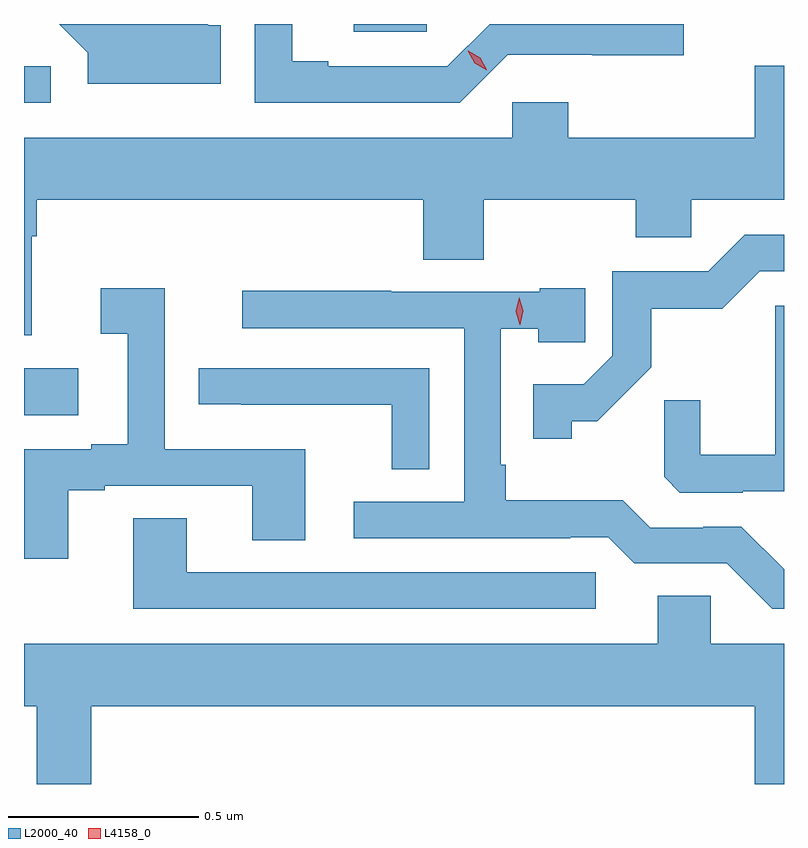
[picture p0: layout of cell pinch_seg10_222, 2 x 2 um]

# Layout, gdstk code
import gdstk
lib = gdstk.Library(unit=1e-6, precision=1e-09)
def R(c, l, rs):  # rectangles x0, y0, x1, y1
    for r in rs: c.add(gdstk.rectangle(r[:2], r[2:], *l))
def P(c, l, *ps):  # polygons
    for p in ps: c.add(gdstk.Polygon(p, *l))
L2000_40 = (2000, 40)
L4158_0 = (4158, 0)

pinch_seg10_222 = lib.new_cell('pinch_seg10_222')
R(pinch_seg10_222, L2000_40, [(630.617,1298.417,630.76,1298.541), (630.617,1299.24,630.688,1299.336), (631.485,1299.426,631.677,1299.447)])
P(pinch_seg10_222, L2000_40, [(631.135,1299.444),(631.104,1299.444),(631.101,1299.447),(630.71,1299.447),(630.785,1299.372),(630.785,1299.29),(631.135,1299.29)],
  [(631.89,1299.366),(632.112,1299.366),(632.112,1299.365),(632.353,1299.365),(632.353,1299.447),(631.842,1299.447),(631.731,1299.336),(631.417,1299.336),(631.417,1299.349),(631.323,1299.349),(631.323,1299.447),(631.224,1299.447),(631.224,1299.24),(631.764,1299.24)],
  [(630.637,1298.888),(630.65,1298.888),(630.65,1298.984),(631.667,1298.984),(631.667,1298.827),(631.827,1298.827),(631.827,1298.984),(632.227,1298.984),(632.227,1298.886),(632.373,1298.886),(632.373,1298.984),(632.617,1298.984),(632.617,1299.337),(632.54,1299.337),(632.54,1299.148),(632.049,1299.148),(632.049,1299.241),(631.902,1299.241),(631.902,1299.148),(630.617,1299.148),(630.617,1298.628),(630.637,1298.628)],
  [(632.058,1298.402),(632.126,1298.402),(632.268,1298.544),(632.268,1298.698),(632.455,1298.698),(632.553,1298.796),(632.617,1298.796),(632.617,1298.892),(632.514,1298.892),(632.418,1298.796),(632.165,1298.796),(632.165,1298.574),(632.09,1298.499),(631.957,1298.499),(631.957,1298.355),(632.058,1298.355)],
  [(630.733,1298.22),(630.829,1298.22),(630.829,1298.232),(631.217,1298.232),(631.217,1298.089),(631.357,1298.089),(631.357,1298.328),(630.987,1298.328),(630.987,1298.752),(630.819,1298.752),(630.819,1298.632),(630.89,1298.632),(630.89,1298.341),(630.794,1298.341),(630.794,1298.328),(630.617,1298.328),(630.617,1298.04),(630.733,1298.04)],
  [(632.617,1298.012),(632.505,1298.124),(632.404,1298.124),(632.404,1298.121),(632.265,1298.121),(632.192,1298.194),(631.885,1298.194),(631.885,1298.287),(631.872,1298.287),(631.872,1298.645),(631.97,1298.645),(631.97,1298.609),(632.094,1298.609),(632.094,1298.752),(631.974,1298.752),(631.974,1298.742),(631.583,1298.742),(631.583,1298.745),(631.191,1298.745),(631.191,1298.646),(631.776,1298.646),(631.776,1298.19),(631.485,1298.19),(631.485,1298.094),(632.054,1298.094),(632.054,1298.097),(632.154,1298.097),(632.223,1298.028),(632.466,1298.028),(632.586,1297.908),(632.617,1297.908)],
  [(632.508,1298.217),(632.617,1298.217),(632.617,1298.706),(632.594,1298.706),(632.594,1298.314),(632.396,1298.314),(632.396,1298.457),(632.302,1298.457),(632.302,1298.255),(632.343,1298.214),(632.508,1298.214)],
  [(631.683,1298.541),(631.077,1298.541),(631.077,1298.446),(631.189,1298.446),(631.189,1298.445),(631.585,1298.445),(631.585,1298.275),(631.683,1298.275)],
  [(632.122,1298.004),(631.045,1298.004),(631.045,1298.147),(630.905,1298.147),(630.905,1297.908),(632.122,1297.908)],
  [(630.794,1297.652),(632.54,1297.652),(632.54,1297.447),(632.617,1297.447),(632.617,1297.816),(632.424,1297.816),(632.424,1297.943),(632.285,1297.943),(632.285,1297.816),(630.617,1297.816),(630.617,1297.652),(630.65,1297.652),(630.65,1297.447),(630.794,1297.447)])
P(pinch_seg10_222, L4158_0, [(631.923,1298.655),(631.922,1298.656),(631.911,1298.691),(631.92,1298.727),(631.92,1298.728),(631.92,1298.727),(631.931,1298.692),(631.923,1298.656)],
  [(631.835,1299.325),(631.803,1299.344),(631.785,1299.377),(631.785,1299.377),(631.786,1299.377),(631.817,1299.358),(631.835,1299.326),(631.835,1299.325)])

lib.write_gds('pinch_seg10_222.gds')
